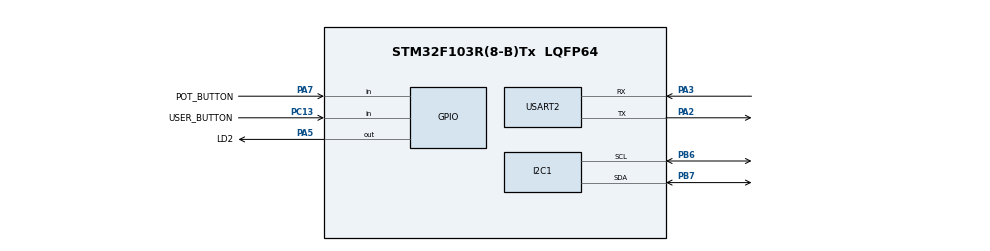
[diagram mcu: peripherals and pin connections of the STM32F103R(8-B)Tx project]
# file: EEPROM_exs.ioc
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Mcu.Family=STM32F1
Mcu.Name=STM32F103R(8-B)Tx
Mcu.Package=LQFP64
NVIC.PriorityGroup=NVIC_PRIORITYGROUP_4
PA13.Mode=Serial_Wire
PA13.Signal=SYS_JTMS-SWDIO
PA14.Mode=Serial_Wire
PA14.Signal=SYS_JTCK-SWCLK
PA2.Mode=Asynchronous
PA2.Signal=USART2_TX
PA3.Mode=Asynchronous
PA3.Signal=USART2_RX
PA5.GPIO_Label=LD2
PA5.Signal=GPIO_Output
PA7.GPIO_Label=POT_BUTTON
PA7.Signal=GPIO_Input
PB6.Mode=I2C
PB6.Signal=I2C1_SCL
PB7.Mode=I2C
PB7.Signal=I2C1_SDA
PC13-TAMPER-RTC.GPIO_Label=USER_BUTTON
PC13-TAMPER-RTC.Signal=GPIO_Input
ProjectManager.HeapSize=0x200
ProjectManager.StackSize=0x400
ProjectManager.TargetToolchain=STM32CubeIDE
RCC.APB1Freq_Value=8000000
RCC.APB2Freq_Value=8000000
USART2.VirtualMode=VM_ASYNC
board=custom

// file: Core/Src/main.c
/* USER CODE BEGIN Header */
/**
  ******************************************************************************
  * @file           : main.c
  * @brief          : Main program body
  ******************************************************************************
  * @attention
  *
  * Copyright (c) 2024 STMicroelectronics.
  * All rights reserved.
  *
  * This software is licensed under terms that can be found in the LICENSE file
  * in the root directory of this software component.
  * If no LICENSE file comes with this software, it is provided AS-IS.
  *
  ******************************************************************************
  */
/* USER CODE END Header */
#include "main.h"
#include "i2c.h"
#include "usart.h"
#include "gpio.h"

/* USER CODE BEGIN Includes */
#include <stdio.h>
#include "eeprom.h"
/* USER CODE END Includes */

void SystemClock_Config(void);

/* USER CODE BEGIN 0 */
int __io_putchar(int ch)
{
	if (ch == '\n')
		__io_putchar('\r');

	HAL_UART_Transmit(&huart2, (uint8_t*)&ch, 1, HAL_MAX_DELAY);
	return 1;
}
/* USER CODE END 0 */

int main(void)
{

  /* MCU Configuration--------------------------------------------------------*/

  /* Reset of all peripherals, Initializes the Flash interface and the Systick. */
  HAL_Init();

  /* Configure the system clock */
  SystemClock_Config();

  /* Initialize all configured peripherals */
  MX_GPIO_Init();
  MX_I2C1_Init();
  MX_USART2_UART_Init();
  /* USER CODE BEGIN 2 */
  uint32_t counter = 0;
  uint32_t pot_counter = 0;

  //eeprom_write(0x0C, &pot_counter, sizeof(pot_counter));

  if (HAL_GPIO_ReadPin(USER_BUTTON_GPIO_Port, USER_BUTTON_Pin) == GPIO_PIN_RESET)
  {
	  counter = 0;
	  pot_counter = 0;
	  if (eeprom_write(0x10, &counter, sizeof(counter)) != HAL_OK)
		  Error_Handler();

	  if (eeprom_write(0x0C, &pot_counter, sizeof(pot_counter)) != HAL_OK)
		  Error_Handler();
  }

  if (eeprom_read(0x10, &counter, sizeof(counter)) != HAL_OK)
	  Error_Handler();

  if (eeprom_read(0x0C, &pot_counter, sizeof(counter)) != HAL_OK)
	  Error_Handler();

  counter++;
  printf("Uruchomienie: %lu\n", counter);

  if (eeprom_write(0x10, &counter, sizeof(counter)) != HAL_OK)
	  Error_Handler();

  /* USER CODE END 2 */

  /* Infinite loop */
  /* USER CODE BEGIN WHILE */
  while (1)
  {
	  if (HAL_GPIO_ReadPin(POT_BUTTON_GPIO_Port, POT_BUTTON_Pin) == GPIO_PIN_RESET)
	  {
		  pot_counter++;
		  if (eeprom_write(0x0C, &pot_counter, sizeof(pot_counter)) != HAL_OK)
			  Error_Handler();
		  HAL_Delay(200);
	  }
    /* USER CODE END WHILE */

  }
}

void SystemClock_Config(void)
{
  RCC_OscInitTypeDef RCC_OscInitStruct = {0};
  RCC_ClkInitTypeDef RCC_ClkInitStruct = {0};

  /** Initializes the RCC Oscillators according to the specified parameters
  * in the RCC_OscInitTypeDef structure.
  */
  RCC_OscInitStruct.OscillatorType = RCC_OSCILLATORTYPE_HSI;
  RCC_OscInitStruct.HSIState = RCC_HSI_ON;
  RCC_OscInitStruct.HSICalibrationValue = RCC_HSICALIBRATION_DEFAULT;
  RCC_OscInitStruct.PLL.PLLState = RCC_PLL_NONE;
  if (HAL_RCC_OscConfig(&RCC_OscInitStruct) != HAL_OK)
  {
    Error_Handler();
  }

  /** Initializes the CPU, AHB and APB buses clocks
  */
  RCC_ClkInitStruct.ClockType = RCC_CLOCKTYPE_HCLK|RCC_CLOCKTYPE_SYSCLK
                              |RCC_CLOCKTYPE_PCLK1|RCC_CLOCKTYPE_PCLK2;
  RCC_ClkInitStruct.SYSCLKSource = RCC_SYSCLKSOURCE_HSI;
  RCC_ClkInitStruct.AHBCLKDivider = RCC_SYSCLK_DIV1;
  RCC_ClkInitStruct.APB1CLKDivider = RCC_HCLK_DIV1;
  RCC_ClkInitStruct.APB2CLKDivider = RCC_HCLK_DIV1;

  if (HAL_RCC_ClockConfig(&RCC_ClkInitStruct, FLASH_LATENCY_0) != HAL_OK)
  {
    Error_Handler();
  }
}

void Error_Handler(void)
{
  __disable_irq();
  while (1)
  {
  }
}
